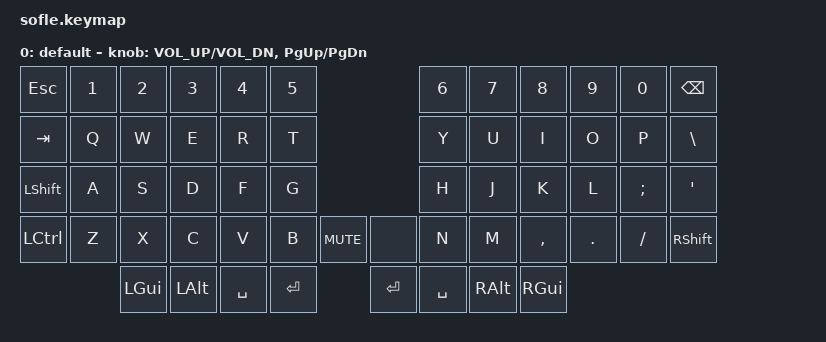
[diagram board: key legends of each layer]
#include <behaviors.dtsi>
#include <dt-bindings/zmk/keys.h>
#include <dt-bindings/zmk/bt.h>
#include <dt-bindings/zmk/rgb.h>
#include <dt-bindings/zmk/ext_power.h>

/ {
    keymap {
        compatible = "zmk,keymap";

        default_layer {
            display-name = "default";
            bindings = <
&kp ESC   &kp N1 &kp N2 &kp N3 &kp N4 &kp N5                     &kp N6 &kp N7 &kp N8    &kp N9   &kp N0   &kp BSPC
&kp TAB   &kp Q  &kp W  &kp E  &kp R  &kp T                      &kp Y  &kp U  &kp I     &kp O    &kp P    &kp BSLH
&kp LSHFT &kp A  &kp S  &kp D  &kp F  &kp G                      &kp H  &kp J  &kp K     &kp L    &kp SEMI &kp SQT
&kp LCTRL &kp Z  &kp X  &kp C  &kp V  &kp B  &kp C_MUTE &none    &kp N  &kp M  &kp COMMA &kp DOT  &kp FSLH &kp RSHFT
                 &kp LGUI &kp LALT &kp SPACE &kp RET    &kp RET  &kp SPACE &kp RALT &kp RGUI
            >;

            sensor-bindings = <&inc_dec_kp C_VOL_UP C_VOL_DN &inc_dec_kp PG_UP PG_DN>;
        };
    };
};
